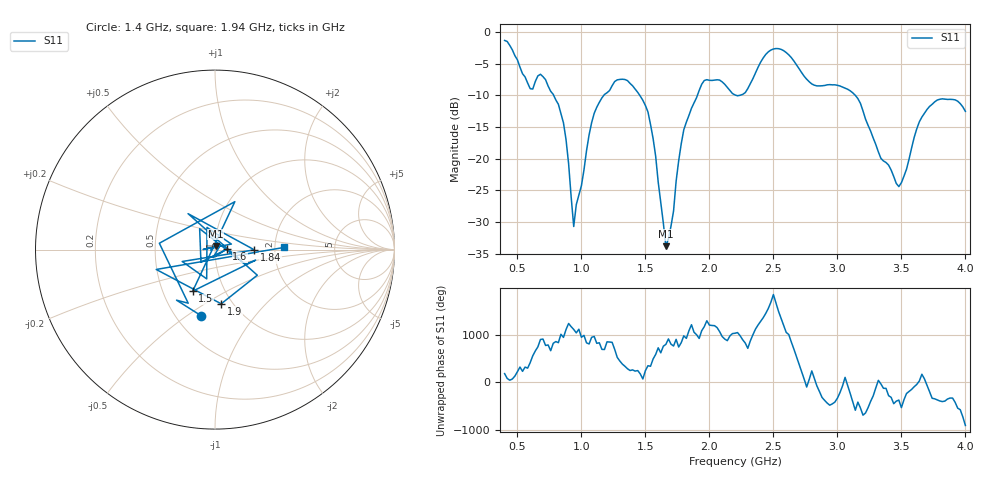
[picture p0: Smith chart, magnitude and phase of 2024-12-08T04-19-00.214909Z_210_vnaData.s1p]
!Created with skrf (http://scikit-rf.org).
# Hz S RI R 50.0
!freq ReS11 ImS11
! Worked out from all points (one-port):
!   181 points, 400 MHz to 4 GHz, reference 50 ohm
!   lowest |S11| = -33.8 dB at 1.66 GHz (marker M1), VSWR 1.04, Z = 50.5 + j1.99 ohm
!   |S11| at or under -10 dB: 783.6 MHz to 1.175 GHz (391.2 MHz wide, 40 % of centre); 1.456 GHz to 1.906 GHz (450.1 MHz wide, 26.8 % of centre); 3.14 GHz to end of sweep (the widest 3 of 4)
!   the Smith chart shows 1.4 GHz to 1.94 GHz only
!   S11 on the Smith chart (normalised r, x): 1.4 GHz: 0.66, -0.57; 1.5 GHz: 0.71, -0.35; 1.6 GHz: 1.14, +0.00; 1.84 GHz: 1.56, -0.00; 1.9 GHz: 0.89, -0.59; 1.94 GHz: 2.26, +0.07
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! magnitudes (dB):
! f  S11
! 400 MHz  -1.3
! 600 MHz  -8.9
! 720 MHz  -7.5
! 860 MHz  -14.4
! 900 MHz  -20.8
! 940 MHz  -30.7
! 1.1 GHz  -12.8
! 1.3 GHz  -7.5
! 1.4 GHz  -8.5
! 1.5 GHz  -11.6
! 1.56 GHz  -16.8
! 1.6 GHz  -23.7
! 1.66 GHz  -33.8
! 1.72 GHz  -28.2
! 1.76 GHz  -20.3
! 1.84 GHz  -13.2
! 1.9 GHz  -10.3
! 1.94 GHz  -8.2
! 2.2 GHz  -9.9
! 2.48 GHz  -2.8
! 2.66 GHz  -4.6
! 2.8 GHz  -8.2
! 3.1 GHz  -9.3
! 3.48 GHz  -24.4
! 3.56 GHz  -20.1
! 3.64 GHz  -14.2
! 3.76 GHz  -11.0
! 4 GHz  -12.5
